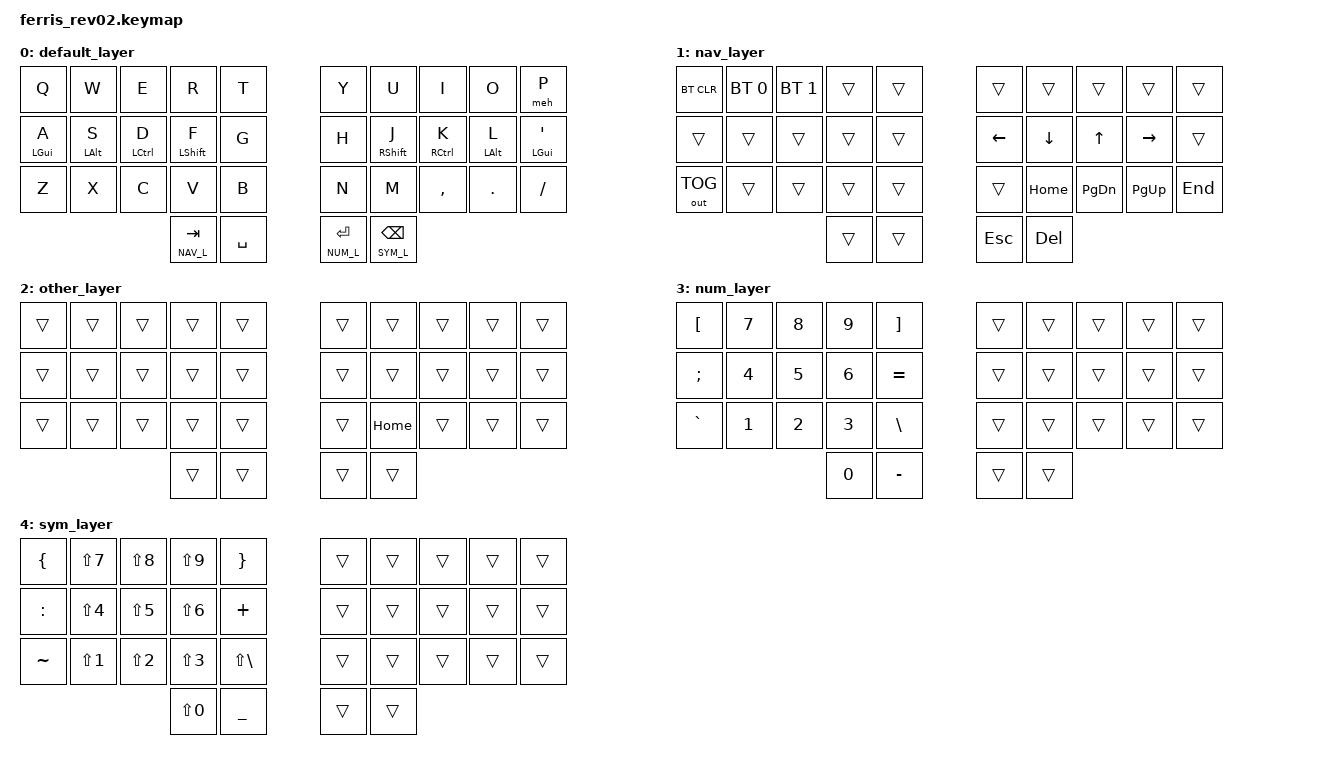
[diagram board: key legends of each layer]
/*
 * Copyright (c) 2020 The ZMK Contributors
 *
 * SPDX-License-Identifier: MIT
 */

#undef ZMK_BEHAVIORS_KEEP_ALL

#include <behaviors.dtsi>
#include <dt-bindings/zmk/bt.h>
#include <dt-bindings/zmk/keys.h>
#include <dt-bindings/zmk/outputs.h>

#define NAV_L 1
#define OTHER_L 2
#define NUM_L 3
#define SYM_L 4

// Using layer taps on thumbs, having quick tap as well helps w/ repeating space/backspace

&lt { quick-tap-ms = <200>; };

/ {
    behaviors {
        hm: homerow_mods {
            compatible = "zmk,behavior-hold-tap";
            #binding-cells = <2>;
            tapping-term-ms = <200>;
            flavor = "tap-preferred";
            bindings = <&kp>, <&kp>;
        };

        meh_ht: meh_ht {
            compatible = "zmk,behavior-hold-tap";
            label = "MEH_HT";
            bindings = <&meh>, <&kp>;

            #binding-cells = <2>;
            tapping-term-ms = <150>;
            flavor = "tap-preferred";
        };
    };

    macros {
        meh: meh {
            compatible = "zmk,behavior-macro";
            #binding-cells = <0>;
            bindings = <&kp LCTRL &kp LEFT_SHIFT &kp LEFT_ALT>;
            label = "MEH";
        };

        esc: esc {
            compatible = "zmk,behavior-macro";
            #binding-cells = <0>;
            bindings = <&none>;
            label = "ESC";
        };
    };

    combos {
        compatible = "zmk,combos";

        esc_combo {
            bindings = <&kp ESCAPE>;
            key-positions = <30 31>;
        };
    };

    keymap {
        compatible = "zmk,keymap";

        default_layer {
            bindings = <
&kp Q       &kp W       &kp E        &kp R          &kp T        &kp Y            &kp U           &kp I        &kp O       &meh_ht 0 P
&hm LGUI A  &hm LALT S  &hm LCTRL D  &hm LSHFT F    &kp G        &kp H            &hm RSHFT J     &hm RCTRL K  &hm LALT L  &hm LGUI SQT
&kp Z       &kp X       &kp C        &kp V          &kp B        &kp N            &kp M           &kp COMMA    &kp DOT     &kp FSLH
                                     &lt NAV_L TAB  &kp SPACE    &lt NUM_L ENTER  &lt SYM_L BSPC
            >;
        };

        nav_layer {
            bindings = <
&bt BT_CLR    &bt BT_SEL 0  &bt BT_SEL 1  &trans  &trans    &trans          &trans    &trans     &trans     &trans
&trans        &trans        &trans        &trans  &trans    &kp LEFT_ARROW  &kp DOWN  &kp UP     &kp RIGHT  &trans
&out OUT_TOG  &trans        &trans        &trans  &trans    &trans          &kp HOME  &kp PG_DN  &kp PG_UP  &kp END
                                          &trans  &trans    &kp ESC         &kp DEL
            >;
        };

        other_layer {
            bindings = <
&trans  &trans  &trans  &trans  &trans    &trans  &trans    &trans  &trans  &trans
&trans  &trans  &trans  &trans  &trans    &trans  &trans    &trans  &trans  &trans
&trans  &trans  &trans  &trans  &trans    &trans  &kp HOME  &trans  &trans  &trans
                        &trans  &trans    &trans  &trans
            >;
        };

        num_layer {
            bindings = <
&kp LBKT   &kp N7  &kp N8  &kp N9  &kp RBKT     &trans  &trans  &trans  &trans  &trans
&kp SEMI   &kp N4  &kp N5  &kp N6  &kp EQUAL    &trans  &trans  &trans  &trans  &trans
&kp GRAVE  &kp N1  &kp N2  &kp N3  &kp BSLH     &trans  &trans  &trans  &trans  &trans
                           &kp N0  &kp MINUS    &trans  &trans
            >;
        };

        sym_layer {
            bindings = <
&kp LBRC   &kp LS(N7)  &kp LS(N8)  &kp LS(N9)  &kp RBRC        &trans  &trans  &trans  &trans  &trans
&kp COLON  &kp LS(N4)  &kp LS(N5)  &kp LS(N6)  &kp PLUS        &trans  &trans  &trans  &trans  &trans
&kp TILDE  &kp LS(N1)  &kp LS(N2)  &kp LS(N3)  &kp LS(BSLH)    &trans  &trans  &trans  &trans  &trans
                                   &kp LS(N0)  &kp UNDER       &trans  &trans
            >;
        };
    };
};
